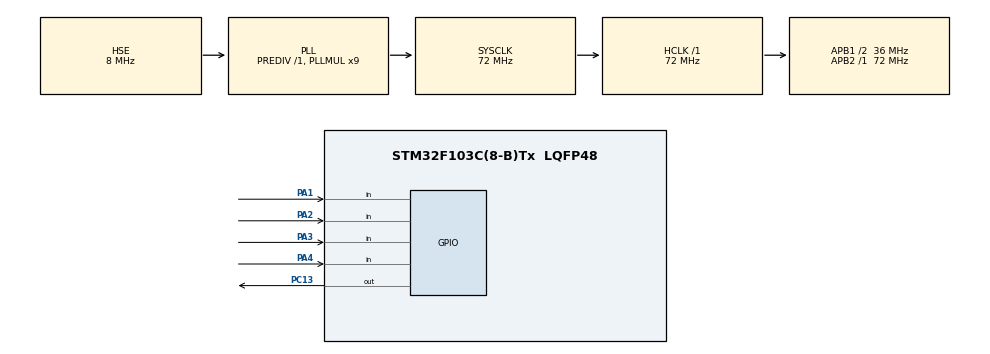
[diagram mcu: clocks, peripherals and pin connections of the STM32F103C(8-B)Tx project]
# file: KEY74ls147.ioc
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Mcu.Family=STM32F1
Mcu.Name=STM32F103C(8-B)Tx
Mcu.Package=LQFP48
NVIC.PriorityGroup=NVIC_PRIORITYGROUP_4
PA1.GPIO_PuPd=GPIO_PULLUP
PA1.Signal=GPIO_Input
PA13.Mode=Serial_Wire
PA13.Signal=SYS_JTMS-SWDIO
PA14.Mode=Serial_Wire
PA14.Signal=SYS_JTCK-SWCLK
PA2.GPIO_PuPd=GPIO_PULLUP
PA2.Signal=GPIO_Input
PA3.GPIO_PuPd=GPIO_PULLUP
PA3.Signal=GPIO_Input
PA4.GPIO_PuPd=GPIO_PULLUP
PA4.Signal=GPIO_Input
PC13-TAMPER-RTC.GPIO_Speed=GPIO_SPEED_FREQ_HIGH
PC13-TAMPER-RTC.PinState=GPIO_PIN_SET
PC13-TAMPER-RTC.Signal=GPIO_Output
PD0-OSC_IN.Mode=HSE-External-Oscillator
PD0-OSC_IN.Signal=RCC_OSC_IN
PD1-OSC_OUT.Mode=HSE-External-Oscillator
PD1-OSC_OUT.Signal=RCC_OSC_OUT
ProjectManager.HeapSize=0x200
ProjectManager.StackSize=0x400
ProjectManager.TargetToolchain=STM32CubeIDE
RCC.AHBFreq_Value=72000000
RCC.APB1CLKDivider=RCC_HCLK_DIV2
RCC.APB1Freq_Value=36000000
RCC.APB1TimFreq_Value=72000000
RCC.APB2Freq_Value=72000000
RCC.APB2TimFreq_Value=72000000
RCC.HCLKFreq_Value=72000000
RCC.PLLMUL=RCC_PLL_MUL9
RCC.PLLSourceVirtual=RCC_PLLSOURCE_HSE
RCC.SYSCLKFreq_VALUE=72000000
RCC.SYSCLKSource=RCC_SYSCLKSOURCE_PLLCLK
RCC.USBFreq_Value=72000000
board=custom

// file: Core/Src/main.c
/* USER CODE BEGIN Header */
/**
  ******************************************************************************
  * @file           : main.c
  * @brief          : Main program body
  ******************************************************************************
  * @attention
  *
  * Copyright (c) 2025 STMicroelectronics.
  * All rights reserved.
  *
  * This software is licensed under terms that can be found in the LICENSE file
  * in the root directory of this software component.
  * If no LICENSE file comes with this software, it is provided AS-IS.
  *
  ******************************************************************************
  */
/* USER CODE END Header */
#include "main.h"

/* USER CODE BEGIN Includes */
#include "stdio.h"

/* USER CODE END Includes */

void SystemClock_Config(void);
static void MX_GPIO_Init(void);

/* USER CODE BEGIN 0 */
uint8_t key_value, decimal_value, key_press,keyPressed;
uint8_t bcd_value = 0;
/* USER CODE END 0 */

int main(void)
{

  /* MCU Configuration--------------------------------------------------------*/

  /* Reset of all peripherals, Initializes the Flash interface and the Systick. */
  HAL_Init();

  /* Configure the system clock */
  SystemClock_Config();

  /* Initialize all configured peripherals */
  MX_GPIO_Init();
  /* USER CODE BEGIN 2 */

  uint8_t read_BCD_value(void) {
      // Đọc từng chân GPIO và gán giá trị tương ứng
      if (HAL_GPIO_ReadPin(GPIOA, GPIO_PIN_1) == GPIO_PIN_SET) bcd_value |= (1 << 0); // Bit 0/D
      if (HAL_GPIO_ReadPin(GPIOA, GPIO_PIN_2) == GPIO_PIN_SET) bcd_value |= (1 << 1); // Bit 1/C
      if (HAL_GPIO_ReadPin(GPIOA, GPIO_PIN_3) == GPIO_PIN_SET) bcd_value |= (1 << 2); // Bit 2/B
      if (HAL_GPIO_ReadPin(GPIOA, GPIO_PIN_4) == GPIO_PIN_SET) bcd_value |= (1 << 3); // Bit 3/A

      return bcd_value;
  }

  // Hàm chuyển đổi BCD sang số thập phân
  uint8_t BCD_to_decimal(uint8_t bcd_value) {
      switch (bcd_value) {
          case 0x00: return 9;
          case 0x01: return 8;
          case 0x02: return 7;
          case 0x03: return 6;
          case 0x04: return 5;
          case 0x05: return 4;
          case 0x06: return 3;
          case 0x07: return 2;
          case 0x08: return 1;

          default:   return 0; // Không có phím nào được nhấn
      }
  }

  /* USER CODE END 2 */

  /* Infinite loop */
  while (1)
  {

    /* USER CODE BEGIN 3 */
	   // Đọc giá trị BCD
	         bcd_value = read_BCD_value();
	         decimal_value = BCD_to_decimal(bcd_value);
	         if (HAL_GPIO_ReadPin(GPIOA, GPIO_PIN_1) == GPIO_PIN_SET && HAL_GPIO_ReadPin(GPIOA, GPIO_PIN_2) == GPIO_PIN_SET && HAL_GPIO_ReadPin(GPIOA, GPIO_PIN_3) == GPIO_PIN_SET && HAL_GPIO_ReadPin(GPIOA, GPIO_PIN_4) == GPIO_PIN_SET){HAL_GPIO_WritePin(GPIOC, GPIO_PIN_13,       GPIO_PIN_SET);}
	         if (HAL_GPIO_ReadPin(GPIOA, GPIO_PIN_1) == GPIO_PIN_RESET && HAL_GPIO_ReadPin(GPIOA, GPIO_PIN_2) == GPIO_PIN_SET && HAL_GPIO_ReadPin(GPIOA, GPIO_PIN_3) == GPIO_PIN_SET && HAL_GPIO_ReadPin(GPIOA, GPIO_PIN_4) == GPIO_PIN_RESET){HAL_GPIO_WritePin(GPIOC, GPIO_PIN_13,   GPIO_PIN_RESET); keyPressed = 49;}
	         if (HAL_GPIO_ReadPin(GPIOA, GPIO_PIN_1) == GPIO_PIN_RESET && HAL_GPIO_ReadPin(GPIOA, GPIO_PIN_2) == GPIO_PIN_SET && HAL_GPIO_ReadPin(GPIOA, GPIO_PIN_3) == GPIO_PIN_SET && HAL_GPIO_ReadPin(GPIOA, GPIO_PIN_4) == GPIO_PIN_SET){HAL_GPIO_WritePin(GPIOC, GPIO_PIN_13,     GPIO_PIN_RESET); keyPressed = 50;}
	         if (HAL_GPIO_ReadPin(GPIOA, GPIO_PIN_1) == GPIO_PIN_SET && HAL_GPIO_ReadPin(GPIOA, GPIO_PIN_2) == GPIO_PIN_RESET && HAL_GPIO_ReadPin(GPIOA, GPIO_PIN_3) == GPIO_PIN_RESET && HAL_GPIO_ReadPin(GPIOA, GPIO_PIN_4) == GPIO_PIN_RESET){HAL_GPIO_WritePin(GPIOC, GPIO_PIN_13, GPIO_PIN_RESET); keyPressed = 51;}//
	         if (HAL_GPIO_ReadPin(GPIOA, GPIO_PIN_1) == GPIO_PIN_SET && HAL_GPIO_ReadPin(GPIOA, GPIO_PIN_2) == GPIO_PIN_RESET && HAL_GPIO_ReadPin(GPIOA, GPIO_PIN_3) == GPIO_PIN_RESET && HAL_GPIO_ReadPin(GPIOA, GPIO_PIN_4) == GPIO_PIN_SET){HAL_GPIO_WritePin(GPIOC, GPIO_PIN_13, GPIO_PIN_SET);}
	         if (HAL_GPIO_ReadPin(GPIOA, GPIO_PIN_1) == GPIO_PIN_SET && HAL_GPIO_ReadPin(GPIOA, GPIO_PIN_2) == GPIO_PIN_RESET && HAL_GPIO_ReadPin(GPIOA, GPIO_PIN_3) == GPIO_PIN_SET && HAL_GPIO_ReadPin(GPIOA, GPIO_PIN_4) == GPIO_PIN_RESET){HAL_GPIO_WritePin(GPIOC, GPIO_PIN_13, GPIO_PIN_SET);}//
	         if (HAL_GPIO_ReadPin(GPIOA, GPIO_PIN_1) == GPIO_PIN_SET && HAL_GPIO_ReadPin(GPIOA, GPIO_PIN_2) == GPIO_PIN_RESET && HAL_GPIO_ReadPin(GPIOA, GPIO_PIN_3) == GPIO_PIN_SET && HAL_GPIO_ReadPin(GPIOA, GPIO_PIN_4) == GPIO_PIN_SET){HAL_GPIO_WritePin(GPIOC, GPIO_PIN_13,   GPIO_PIN_SET);}
	         if (HAL_GPIO_ReadPin(GPIOA, GPIO_PIN_1) == GPIO_PIN_SET && HAL_GPIO_ReadPin(GPIOA, GPIO_PIN_2) == GPIO_PIN_SET && HAL_GPIO_ReadPin(GPIOA, GPIO_PIN_3) == GPIO_PIN_RESET && HAL_GPIO_ReadPin(GPIOA, GPIO_PIN_4) == GPIO_PIN_RESET){HAL_GPIO_WritePin(GPIOC, GPIO_PIN_13, GPIO_PIN_SET);}//
	         if (HAL_GPIO_ReadPin(GPIOA, GPIO_PIN_1) == GPIO_PIN_SET && HAL_GPIO_ReadPin(GPIOA, GPIO_PIN_2) == GPIO_PIN_SET && HAL_GPIO_ReadPin(GPIOA, GPIO_PIN_3) == GPIO_PIN_RESET && HAL_GPIO_ReadPin(GPIOA, GPIO_PIN_4) == GPIO_PIN_SET){HAL_GPIO_WritePin(GPIOC, GPIO_PIN_13,   GPIO_PIN_SET);}
	         if (HAL_GPIO_ReadPin(GPIOA, GPIO_PIN_1) == GPIO_PIN_SET && HAL_GPIO_ReadPin(GPIOA, GPIO_PIN_2) == GPIO_PIN_SET && HAL_GPIO_ReadPin(GPIOA, GPIO_PIN_3) == GPIO_PIN_SET && HAL_GPIO_ReadPin(GPIOA, GPIO_PIN_4) == GPIO_PIN_RESET){HAL_GPIO_WritePin(GPIOC, GPIO_PIN_13,   GPIO_PIN_SET);}
	         // Kiểm tra xem có phím nào được nhấn

	      }
  /* USER CODE END 3 */
}

void SystemClock_Config(void)
{
  RCC_OscInitTypeDef RCC_OscInitStruct = {0};
  RCC_ClkInitTypeDef RCC_ClkInitStruct = {0};

  /** Initializes the RCC Oscillators according to the specified parameters
  * in the RCC_OscInitTypeDef structure.
  */
  RCC_OscInitStruct.OscillatorType = RCC_OSCILLATORTYPE_HSE;
  RCC_OscInitStruct.HSEState = RCC_HSE_ON;
  RCC_OscInitStruct.HSEPredivValue = RCC_HSE_PREDIV_DIV1;
  RCC_OscInitStruct.HSIState = RCC_HSI_ON;
  RCC_OscInitStruct.PLL.PLLState = RCC_PLL_ON;
  RCC_OscInitStruct.PLL.PLLSource = RCC_PLLSOURCE_HSE;
  RCC_OscInitStruct.PLL.PLLMUL = RCC_PLL_MUL9;
  if (HAL_RCC_OscConfig(&RCC_OscInitStruct) != HAL_OK)
  {
    Error_Handler();
  }

  /** Initializes the CPU, AHB and APB buses clocks
  */
  RCC_ClkInitStruct.ClockType = RCC_CLOCKTYPE_HCLK|RCC_CLOCKTYPE_SYSCLK
                              |RCC_CLOCKTYPE_PCLK1|RCC_CLOCKTYPE_PCLK2;
  RCC_ClkInitStruct.SYSCLKSource = RCC_SYSCLKSOURCE_PLLCLK;
  RCC_ClkInitStruct.AHBCLKDivider = RCC_SYSCLK_DIV1;
  RCC_ClkInitStruct.APB1CLKDivider = RCC_HCLK_DIV2;
  RCC_ClkInitStruct.APB2CLKDivider = RCC_HCLK_DIV1;

  if (HAL_RCC_ClockConfig(&RCC_ClkInitStruct, FLASH_LATENCY_2) != HAL_OK)
  {
    Error_Handler();
  }
}

static void MX_GPIO_Init(void)
{
  GPIO_InitTypeDef GPIO_InitStruct = {0};

  /* GPIO Ports Clock Enable */
  __HAL_RCC_GPIOC_CLK_ENABLE();
  __HAL_RCC_GPIOD_CLK_ENABLE();
  __HAL_RCC_GPIOA_CLK_ENABLE();

  /*Configure GPIO pin Output Level */
  HAL_GPIO_WritePin(GPIOC, GPIO_PIN_13, GPIO_PIN_SET);

  /*Configure GPIO pin : PC13 */
  GPIO_InitStruct.Pin = GPIO_PIN_13;
  GPIO_InitStruct.Mode = GPIO_MODE_OUTPUT_PP;
  GPIO_InitStruct.Pull = GPIO_NOPULL;
  GPIO_InitStruct.Speed = GPIO_SPEED_FREQ_HIGH;
  HAL_GPIO_Init(GPIOC, &GPIO_InitStruct);

  /*Configure GPIO pins : PA1 PA2 PA3 PA4 */
  GPIO_InitStruct.Pin = GPIO_PIN_1|GPIO_PIN_2|GPIO_PIN_3|GPIO_PIN_4;
  GPIO_InitStruct.Mode = GPIO_MODE_INPUT;
  GPIO_InitStruct.Pull = GPIO_PULLUP;
  HAL_GPIO_Init(GPIOA, &GPIO_InitStruct);

}

void Error_Handler(void)
{
  __disable_irq();
  while (1)
  {
  }
}
